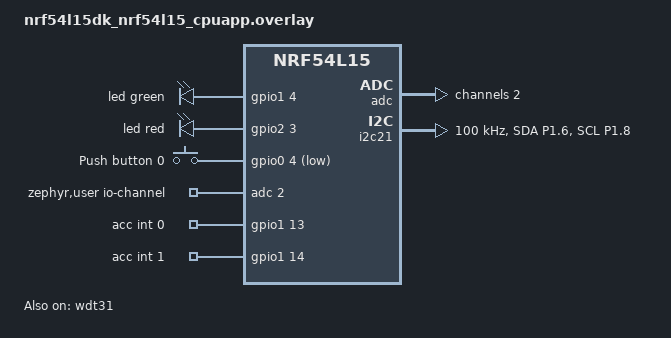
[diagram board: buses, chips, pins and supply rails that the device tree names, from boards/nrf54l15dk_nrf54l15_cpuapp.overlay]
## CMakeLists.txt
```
# SPDX-License-Identifier: Apache-2.0

cmake_minimum_required(VERSION 3.20.0)

find_package(Zephyr REQUIRED HINTS $ENV{ZEPHYR_BASE})
project(hello_world)

target_sources(app PRIVATE src/main.c)
target_sources(app PRIVATE src/lis2dw_driver.c)
target_sources(app PRIVATE src/lis2dw12_reg.c)
target_sources(app PRIVATE src/acc_int.c)
```

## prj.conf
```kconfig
# nothing here
#sensor
# acc sensor
CONFIG_I2C=y
CONFIG_I2C_NRFX=y
CONFIG_SENSOR=y
CONFIG_I2C_TARGET=y

#log
CONFIG_LOG=y
CONFIG_SERIAL=n
CONFIG_USE_SEGGER_RTT=y
CONFIG_RTT_CONSOLE=y
CONFIG_LOG_BACKEND_RTT=y

# uart console
CONFIG_UART_CONSOLE=n
CONFIG_LOG_BACKEND_UART=n
```

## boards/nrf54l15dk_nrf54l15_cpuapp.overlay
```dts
/* SPDX-License-Identifier: LicenseRef-Nordic-5-Clause */

/ {    
    leds {
        compatible = "gpio-leds";
        
        led0: led_0 {
			gpios = <&gpio1 4 GPIO_ACTIVE_HIGH>;
			label = "led green";
		};
        
        led1: led_1 {
			gpios = <&gpio2 3 GPIO_ACTIVE_HIGH>;
			label = "led red";
		};
	};
    
    buttons {
		compatible = "gpio-keys";
		button0: button_0 {
			gpios = <&gpio0 4 (GPIO_PULL_UP | GPIO_ACTIVE_LOW)>;
			label = "Push button 0";
		};
	};
    
    zephyr,user {
		io-channels = <&adc 2>;
	};
    
     accints {
		compatible = "gpio-keys";
		accint0: accint_0 {
			gpios = <&gpio1 13 (GPIO_PULL_DOWN | GPIO_ACTIVE_HIGH)>;
			label = "acc int 0";
		};
        
        accint1: accint_1 {
			gpios = <&gpio1 14 (GPIO_PULL_DOWN | GPIO_ACTIVE_HIGH)>;
			label = "acc int 1";
		};
	};
        
 
    aliases {
        led0 = &led0;
        led1 = &led1;
        sw0 = &button0;
		accint0 = &accint0;
		accint1 = &accint1;
		acci2c = &i2c21;
	};
};

&gpio0 {
    sense-edge-mask = <((1 << 4))>;
};

&gpio1 {
    sense-edge-mask = <((1 << 13) | (1 << 14))>;
};

&lfxo{
    load-capacitors = "internal";
    load-capacitance-femtofarad=<14000>;
};



&adc {
	#address-cells = <1>;
	#size-cells = <0>;

	channel@2 {
		reg = <2>;
		zephyr,gain = "ADC_GAIN_1_4";
		zephyr,reference = "ADC_REF_INTERNAL";
		zephyr,acquisition-time = <ADC_ACQ_TIME_DEFAULT>;
		zephyr,input-positive = <NRF_SAADC_VDD>; /* P1.11 */
		zephyr,resolution = <12>;
		zephyr,oversampling = <8>;
	};
};


&i2c21 {
	compatible = "nordic,nrf-twim";
	status = "okay";
	clock-frequency = <I2C_BITRATE_STANDARD>;
	pinctrl-0 = <&i2c21_default_alt>;
	pinctrl-1 = <&i2c21_sleep_alt>;
	pinctrl-names = "default", "sleep";

};


&pinctrl {
	i2c21_default_alt: i2c21_default_alt {
		group1 {
			psels = <NRF_PSEL(TWIM_SDA, 1, 6)>,
				<NRF_PSEL(TWIM_SCL, 1, 8)>;
			bias-pull-up;
		};
	};

	i2c21_sleep_alt: i2c21_sleep_alt {
		group1 {
			psels = <NRF_PSEL(TWIM_SDA, 1, 6)>,
				<NRF_PSEL(TWIM_SCL, 1, 8)>;
			low-power-enable;
		};
	};
};

/* Disable NFCT on P1.02 and P1.03 only nrf54l15dk/nrf54l15/cpuapp*/
&uicr {
	nfct-pins-as-gpios;
};


&led2 {
    status = "disabled";
};

&led3 {
    status = "disabled";
};

&button0 {
	status = "okay";
};

&button1 {
	status = "disabled";
};

&button2 {
	status = "disabled";
};

&button3 {
    status = "disabled";
};

&uart30
{
    status = "disabled";
};

&uart20
{
	// disable-rx;
	status = "disabled";
};

&wdt31 {
    status = "okay";
};

&uart21 {
    status = "disabled"; 
};

&spi21
{
	status = "disabled";
};

&spi00 {
    status = "disabled";
};

&pwm21
{
	status = "disabled";
};
```

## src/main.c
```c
/*
 * Copyright (c) 2012-2014 Wind River Systems, Inc.
 *
 * SPDX-License-Identifier: Apache-2.0
 */

#include <stdio.h>
#include <zephyr/kernel.h>
#include "lis2dw_driver.h"

int main(void)
{
	printf("Hello World! %s\n", CONFIG_BOARD_TARGET);
    
    LIS2DH_init();
    
    LIS2DH_PosDetectEnable(AccOdr10Hz);

    while (true)
    {
        AxesRaw_t axis;
        
        LIS2DH_GetPosAxesRaw(&axis);
        printf("read x:%d, y:%d, z:%d\n", axis.AXIS_X, axis.AXIS_Y, axis.AXIS_Z);

        k_msleep(1000);
    }

	return 0;
}
```

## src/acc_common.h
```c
#ifndef ACC_COMMON_H
#define ACC_COMMON_H
#include <stdint.h>
#include <stdbool.h>

typedef struct {
  int16_t AXIS_X;
  int16_t AXIS_Y;
  int16_t AXIS_Z;
} AxesRaw_t;

typedef struct tag_acc_axis_zip
{
	int32_t accX : 10;
	int32_t accY : 10;
	int32_t accZ : 10;
	int32_t reserve : 2;
}acc_axis_zip;

typedef enum eAccOdrHz
{
    AccOdr1Hz,
    AccOdr10Hz,
    AccOdr25Hz,
    AccOdr50Hz,
    AccOdr100Hz,
    AccOdr0Hz
}EAccDecHz;
#define AccMaxOdr AccOdr100Hz

#define MAX_ACC_SENSITIVITY 126
#define MIN_ACC_SENSITIVITY 1
#define DEFAULT_ACC_SENSITIVITY 2

typedef enum {
    MEMS_SUCCESS				=		0x0,
    MEMS_ERROR				=		0x1	
} status_t;

typedef enum eAccSensorType
{
    ACC_TYPE_UNKNOWN,
    ACC_TYPE_2DH,
    ACC_TYPE_3DH,
    ACC_TYPE_OHM3,
    ACC_TYPE_OHM
}AccSensorType;

typedef uint32_t (*acc_start_self_test_func)(void);

typedef bool (*acc_pos_detect_enable_func)(EAccDecHz decHz);

typedef bool (*acc_motion_detect_enable_func)(uint8_t odr, uint8_t accRange, uint8_t nDuration);

typedef bool (*acc_stop_func)(void);

typedef status_t (*acc_read_axis_raw_func)(AxesRaw_t* buff);

typedef status_t (*acc_get_int_src)(uint8_t* val);

typedef struct tag_acc_context_ctrl
{
    acc_start_self_test_func        func_ptr_acc_self_test;
    acc_pos_detect_enable_func func_ptr_acc_pos_detect;
    acc_motion_detect_enable_func func_ptr_acc_motion_detect;
    acc_stop_func  func_ptr_acc_stop;
    acc_read_axis_raw_func func_ptr_read_axis;
    acc_get_int_src func_ptr_get_src;

    uint8_t sensor_type;
    uint8_t address;
}acc_context_ctrl;

extern acc_context_ctrl gap_acc_context;

#endif
```

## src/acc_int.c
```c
#include <zephyr/kernel.h>
#include <zephyr/device.h>
#include <stdint.h>
#include <zephyr/drivers/gpio.h>
#include <zephyr/logging/log.h>
#include "acc_int.h"


static const struct gpio_dt_spec gap_acc_int1 = GPIO_DT_SPEC_GET(DT_ALIAS(accint0), gpios);
static struct gpio_callback gap_acc_cb_data;
static acc_interrupt_evt gap_acc_func_callback = NULL;
static struct k_work gap_acc_int_event_timer;

static void acc_gpio_callback(const struct device *dev, struct gpio_callback *cb, uint32_t pins)
{
    if (BIT(gap_acc_int1.pin) == pins)
    {
		k_work_submit(&gap_acc_int_event_timer);
    }
}

static void acc_event_work_callback(struct k_work *work)
{
	if (gap_acc_func_callback != NULL)
	{
		gap_acc_func_callback(0);
	}
}

int Acc_interrupt_init(acc_interrupt_evt accEvtCallback)
{
    int ret = 0;

    uint32_t acc_bit_mask = 0;
    gap_acc_func_callback = accEvtCallback;
    if (!device_is_ready(gap_acc_int1.port))
    {
        // LOG_ERR("Error: button device %s is not ready",  (gap_acc_int1.port->name));
        return -1;
    }
    ret = gpio_pin_configure_dt(&gap_acc_int1, GPIO_INPUT);
    if (ret != 0)
    {
        // LOG_ERR("Error %d: failed to configure %s pin %d", ret,  (gap_acc_int1.port->name), gap_acc_int1.pin);
        return ret;
    }
    ret = gpio_pin_interrupt_configure_dt(&gap_acc_int1, GPIO_INT_EDGE_TO_ACTIVE);
    if (ret != 0)
    {
        // LOG_ERR("Error %d: failed to configure interrupt on %s pin %d", ret,  (gap_acc_int1.port->name), gap_acc_int1.pin);
        return ret;
    }
	acc_bit_mask = acc_bit_mask | BIT(gap_acc_int1.pin);

	//init callback
    gpio_init_callback(&gap_acc_cb_data, acc_gpio_callback, acc_bit_mask);
	gpio_add_callback(gap_acc_int1.port, &gap_acc_cb_data);

	//init work thd
    k_work_init(&gap_acc_int_event_timer, acc_event_work_callback);
    return 0;
}
```

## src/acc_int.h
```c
#ifndef ACC_INTERRUPT_H
#define ACC_INTERRUPT_H

#include <stdint.h>

typedef void (*acc_interrupt_evt) (uint8_t event);
 

int Acc_interrupt_init(acc_interrupt_evt accEvtCallback);

#endif
```

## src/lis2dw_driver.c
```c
#include "lis2dw_driver.h"
#include "acc_common.h"
#include "lis2dw12_reg.h"
#include <stdlib.h>
#include <zephyr/device.h>
#include <zephyr/drivers/i2c.h>
#include <zephyr/drivers/sensor.h>
#include <zephyr/kernel.h>
#include <stdio.h>
#include <zephyr/device.h>
#include <stdint.h>
#include "acc_int.h"
#include <string.h>
#include <zephyr/device.h>
#include <zephyr/logging/log.h>

LOG_MODULE_REGISTER(lis2dw, 3);

#define    BOOT_TIME            20 //ms
#define MAX_TX_BUFF_LEN 8

const struct device *gap_acc_sensor ;
static stmdev_ctx_t dev_ctx;
static uint8_t whoamI, rst;
static int16_t data_raw_acceleration[3];
static lis2dw12_reg_t int_route;

static int32_t platform_read(void *ptr, uint8_t addr, uint8_t *buf, uint16_t len)
{
    int32_t err_code = 0;
    uint8_t* p_buffer = buf;

    for (int i = 0; i < len; i++)
    {
        err_code = i2c_write(gap_acc_sensor, &addr, sizeof(addr), LIS2DW12_ADDR_READ);

        err_code = i2c_read(gap_acc_sensor, p_buffer, 1, LIS2DW12_ADDR_READ);

        p_buffer++;
        addr++;
    }

    return err_code;
}


static int32_t platform_write(void *ptr, uint8_t addr, const uint8_t *buf, uint16_t len)
{
    uint8_t txBuf[MAX_TX_BUFF_LEN];

    txBuf[0] = addr;
    for (int i = 0; i < len; i++)
    {
        txBuf[i+1] = buf[i];
    }

    int32_t err_code = i2c_write(gap_acc_sensor, txBuf, len+1, LIS2DW12_ADDR_READ);

    return err_code;
}



static void platform_delay(uint32_t millisec)
{
    k_msleep(millisec);
}

bool LIS2DH_init()
{
	gap_acc_sensor = DEVICE_DT_GET(DT_ALIAS(acci2c));
	if(!device_is_ready(gap_acc_sensor))
	{
		printk("i2c acc failed\n");
		return false;
	}

    /* Initialize mems driver interface */
    dev_ctx.write_reg = platform_write;
    dev_ctx.read_reg = platform_read;
    dev_ctx.mdelay = platform_delay;

    /* Wait sensor boot time */
    platform_delay(BOOT_TIME);

    /* Check device ID */
    lis2dw12_device_id_get(&dev_ctx, &whoamI);

    if (whoamI != LIS2DW12_ID)
    {
        return false;
    }

    /* Restore default configuration */
    lis2dw12_reset_set(&dev_ctx, PROPERTY_ENABLE);
    do
    {
        lis2dw12_reset_get(&dev_ctx, &rst);
    }
    while (rst);

    return true;
}

uint32_t LIS2DH_StartSelfTest(void)
{
    if (whoamI != LIS2DW12_ID)
    {
        return 0;
    }

    LIS2DH_PosDetectEnable(AccOdr50Hz);

    platform_delay(100);

    AxesRaw_t raw;
    LIS2DH_GetPosAxesRaw(&raw);
    uint32_t result = abs(raw.AXIS_X) + abs(raw.AXIS_Y) + abs(raw.AXIS_Z);
    if (result < 100)
    {
        return 0;
    }
    
    return result;
}

void LIS2DH_SetODR(EAccDecHz odr)
{
    if (odr == AccOdr1Hz)
    {
        lis2dw12_data_rate_set(&dev_ctx, LIS2DW12_XL_ODR_1Hz6_LP_ONLY);
    }
    else if (odr == AccOdr10Hz)
    {
        lis2dw12_data_rate_set(&dev_ctx, LIS2DW12_XL_ODR_12Hz5);
    }
    else if (odr == AccOdr25Hz)
    {
        lis2dw12_data_rate_set(&dev_ctx, LIS2DW12_XL_ODR_25Hz);
    }
    else if(odr == AccOdr50Hz)
    {
        lis2dw12_data_rate_set(&dev_ctx, LIS2DW12_XL_ODR_50Hz);
    }
    else
    {
        lis2dw12_data_rate_set(&dev_ctx, LIS2DW12_XL_ODR_100Hz);
    }
}

bool LIS2DH_PosDetectEnable(EAccDecHz decHz)
{
    lis2dw12_block_data_update_set(&dev_ctx, PROPERTY_ENABLE);

    //set scale
    lis2dw12_full_scale_set(&dev_ctx, LIS2DW12_2g);

    //Configure filtering chain Accelerometer - filter path / bandwidth
    lis2dw12_filter_path_set(&dev_ctx, LIS2DW12_LPF_ON_OUT);
    
    lis2dw12_filter_bandwidth_set(&dev_ctx, LIS2DW12_ODR_DIV_4);

    //Configure power mode
    lis2dw12_power_mode_set(&dev_ctx, LIS2DW12_CONT_LOW_PWR_2);

    // Set Output Data Rate
    LIS2DH_SetODR(decHz);

    LOG_INF("lis2dw pos poll enable");

    return true;
}

bool LIS2DH_MotionDetectEnable(uint8_t odr, uint8_t accRange, uint8_t nDuration)
{
    //lis2dw12_block_data_update_set(&dev_ctx, PROPERTY_ENABLE);

    /* Set full scale */
    lis2dw12_full_scale_set(&dev_ctx, LIS2DW12_2g);

    /* Configure power mode */
    lis2dw12_power_mode_set(&dev_ctx, LIS2DW12_CONT_LOW_PWR_2);

    /* Set Output Data Rate */
    LIS2DH_SetODR(odr);

    /* Apply high-pass digital filter on Wake-Up function */
    lis2dw12_filter_path_set(&dev_ctx, LIS2DW12_LPF_ON_OUT);

    lis2dw12_wkup_dur_set(&dev_ctx, nDuration);
    
    /* Set wake-up threshold
    * Set Wake-Up threshold: 1 LSb corresponds to FS_XL/2^6
    */
    if (accRange < 1)
    {
        accRange = 1;
    }
    if (accRange >= 64)
    {
    	accRange = 63;
    }
    lis2dw12_wkup_threshold_set(&dev_ctx, accRange);

    /* Enable interrupt generation on Wake-Up INT1 pin */
    lis2dw12_pin_int1_route_get(&dev_ctx, &int_route.ctrl4_int1_pad_ctrl);
    int_route.ctrl4_int1_pad_ctrl.int1_wu = PROPERTY_ENABLE;

    lis2dw12_pin_int1_route_set(&dev_ctx, &int_route.ctrl4_int1_pad_ctrl);

    LIS2DH_GetInt1Src(NULL);

    LOG_INF("motion enable");

    return true;
}

bool LIS2DH_SensorStoped(void)
{
    //reset all configuration
    lis2dw12_reset_set(&dev_ctx, PROPERTY_ENABLE);
    do
    {
        lis2dw12_reset_get(&dev_ctx, &rst);
    }
    while (rst);

    LOG_INF("lis 2dw power off");

    return true;
}

status_t LIS2DH_GetPosAxesRaw(AxesRaw_t* buff)
{
    uint8_t reg;

    /* Read output only if new value is available */
    lis2dw12_flag_data_ready_get(&dev_ctx, &reg);

    if (reg)
    {
        memset(data_raw_acceleration, 0x00, 3 * sizeof(int16_t));
        lis2dw12_acceleration_raw_get(&dev_ctx, data_raw_acceleration);
    }

    buff->AXIS_X = lis2dw12_from_fs2_to_mg(data_raw_acceleration[0]);
    buff->AXIS_Y = lis2dw12_from_fs2_to_mg(data_raw_acceleration[1]);
    buff->AXIS_Z = lis2dw12_from_fs2_to_mg(data_raw_acceleration[2]);
    //float temperature = LIS2DH_GetTemperature();
    //LOG_INF("acc temperature:%d", (int)(temperature * 10));


    return MEMS_SUCCESS;
}

void LIS2DH_ChangeMotionTHS(uint8_t ths)
{
	lis2dw12_wkup_threshold_set(&dev_ctx, ths);
}

status_t LIS2DH_GetInt1Src(uint8_t* val)
{
    lis2dw12_all_sources_t all_source;

    /* Check Wake-Up events */
    lis2dw12_all_sources_get(&dev_ctx, &all_source);

    return MEMS_SUCCESS;
}

bool LIS2DH_Int1Src_Over()
{
     lis2dw12_all_sources_t all_source;

    /* Check Wake-Up events */
    lis2dw12_all_sources_get(&dev_ctx, &all_source);
    
    return  all_source.all_int_src.wu_ia ; 
}
```

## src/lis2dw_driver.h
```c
#ifndef __LIS2DH_DRIVER__H
#define __LIS2DH_DRIVER__H


#include "acc_common.h"

#define LIS2DW12_ADDR_READ   0x19

bool LIS2DH_init();

uint32_t LIS2DH_StartSelfTest(void) ;

 bool LIS2DH_PosDetectEnable(EAccDecHz decHz);

bool LIS2DH_MotionDetectEnable(uint8_t odr, uint8_t accRange, uint8_t nDuration);

bool LIS2DH_SensorStoped(void);

status_t LIS2DH_GetPosAxesRaw(AxesRaw_t* buff) ;

status_t LIS2DH_GetInt1Src(uint8_t* val);

void LIS2DH_ChangeMotionTHS(uint8_t ths);

bool LIS2DH_Int1Src_Over();

#endif 
```
